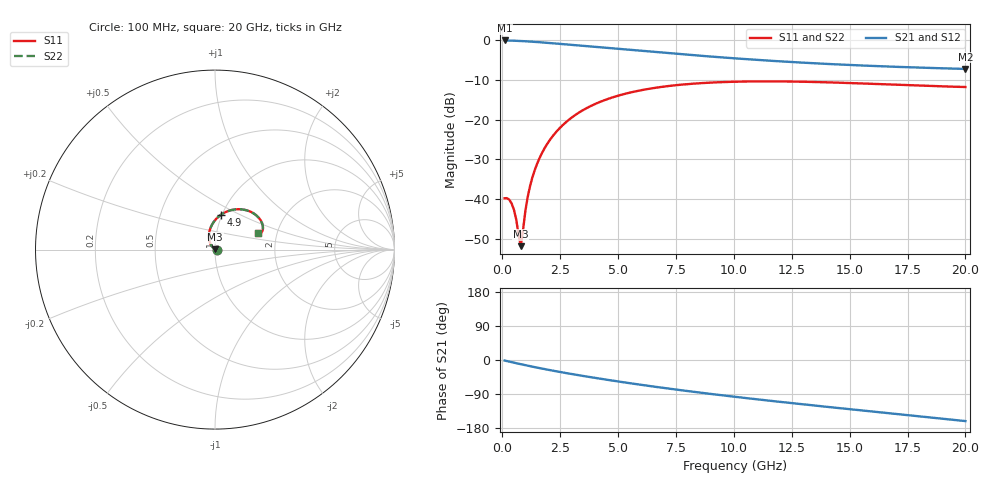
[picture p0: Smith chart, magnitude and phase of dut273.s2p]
! Touchstone file exported from HFSS 2024.1.0
!  File:  C:/UserFiles/LocalFiles/RDL_TSV_Batchsim/temp_RDL_TSV_273_1779462556.aedt
!  Generated:  11:21:11 PM May 22, 2026
!  Design:  RDL_TSV
!  Project:  temp_RDL_TSV_273_1779462556
!  Setup:  Setup1
!  Solution:  Sweep
! Variables:
!  dtsv = 9.98um
!  hbump = 3um
!  htsv = 52.99um
!  ldown = 240.93um
!  lrdl = 442.62um
!  p = 40
!  p1 = 50.12um
!  rhole = 10um
!  subl = 2493.27um
!  t = 450um
!  tdown = 2.67um
!  trdl = 4.66um
!  viad = 10um
!  wdown = 21.57um
!  wrdl = 27.51um
!  xbump = 18um
# GHz S MA R 50.000000
! Terminal data exported
! Port[1] = TM1_1_T1
! Port[2] = TM1_4_T1
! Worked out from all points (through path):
!   200 points, 100 MHz to 20 GHz, reference 50 ohm
!   highest |S21| = -0.09 dB at 100 MHz (marker M1); lowest = -7.3 dB at 20 GHz (marker M2)
!   group delay of S21, straight-line fit = 21.2 ps
!   lowest |S11| = -51.9 dB at 800 MHz (marker M3), VSWR 1.01, Z = 50.1 + j0.24 ohm
!   |S11| at or under -10 dB: start of sweep to end of sweep
!   |S22| runs from -51.9 to -10.4 dB; largest |S21 - S12| = 1e-14
!   S11 on the Smith chart (normalised r, x): 100 MHz: 1.02, +0.00; 4.9 GHz: 0.99, +0.40; 20 GHz: 1.59, +0.31
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0.1  0.01021 3.0  0.9894 -1.5  0.9894 -1.5  0.01021 3.0
! Gamma 0 0 0 0
! Port Impedance 50 0 50 0
0.3  0.00981 3.2  0.9864 -4.3  0.9864 -4.3  0.009812 3.2
0.4  0.008829 2.7  0.9844 -5.7  0.9844 -5.7  0.008831 2.7
0.5  0.007373 3.6  0.9822 -7.0  0.9822 -7.0  0.007376 3.6
0.6  0.00555 8.1  0.9797 -8.4  0.9797 -8.4  0.005554 8.0
0.7  0.003592 23.1  0.9769 -9.7  0.9769 -9.7  0.003598 23.0
0.8  0.002545 70.4  0.9737 -11.1  0.9737 -11.1  0.002545 70.2
1  0.007177 129.8  0.9667 -13.7  0.9667 -13.7  0.007163 129.7
1.1  0.0107 134.2  0.9628 -15.0  0.9628 -15.0  0.01069 134.2
1.3  0.01869 135.2  0.9543 -17.6  0.9543 -17.6  0.01866 135.2
1.6  0.0323 131.5  0.9405 -21.3  0.9405 -21.3  0.03226 131.5
2  0.05243 124.5  0.9208 -26.0  0.9208 -26.0  0.05238 124.5
2.4  0.07374 117.2  0.9005 -30.6  0.9005 -30.6  0.07367 117.2
2.9  0.1007 108.6  0.8752 -36.0  0.8752 -36.0  0.1006 108.6
3.5  0.132 99.2  0.8454 -42.2  0.8454 -42.2  0.1319 99.2
4.9  0.1956 80.7  0.7798 -55.7  0.7798 -55.7  0.1954 80.7
6.8  0.2556 61.6  0.6993 -72.3  0.6993 -72.3  0.2553 61.6
8.4  0.2847 49.4  0.6402 -85.0  0.6402 -85.0  0.2844 49.4
10.1  0.2994 39.3  0.5874 -97.5  0.5874 -97.5  0.299 39.3
13.4  0.2972 26.2  0.512 -119.6  0.512 -119.6  0.2967 26.2
16.7  0.2761 20.3  0.4642 -140.5  0.4642 -140.5  0.2754 20.3
20  0.2567 21.0  0.4334 -161.2  0.4334 -161.2  0.256 21.0
